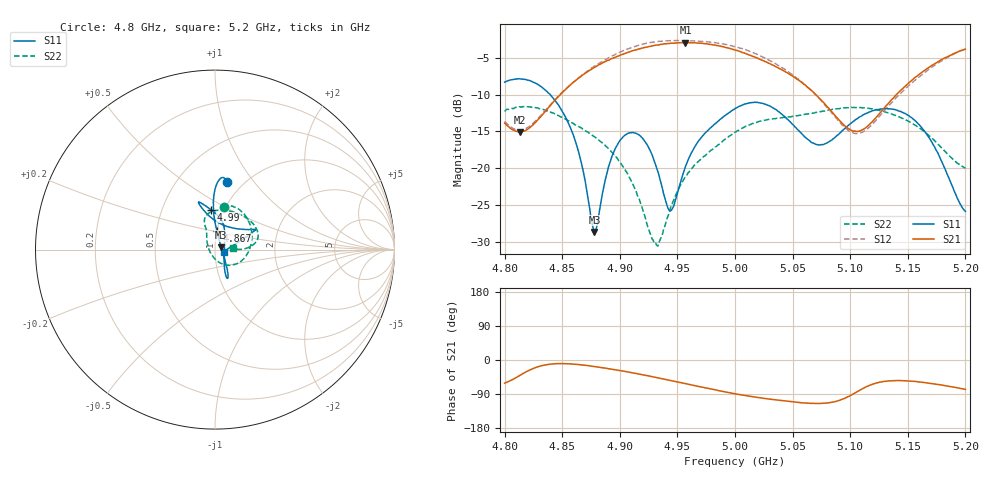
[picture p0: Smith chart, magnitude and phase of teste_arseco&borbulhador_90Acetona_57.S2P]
! Network Analyzer HP8722D
! Hewlett-Packard
! Data name: Linha & Wilkinson
! Saver's name: Rodrigo Anjos
! Comments: Teste da utilização de aquisição
! continua pelo VNA HP8722D
! Time and date: 17/4/2025 11:31
!  Frequency  S11  S21  S12  S22
# HZ  S  MA R 50
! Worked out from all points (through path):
!   401 points, 4.8 GHz to 5.2 GHz, reference 50 ohm
!   highest |S21| = -2.97 dB at 4.957 GHz (marker M1); lowest = -15.1 dB at 4.813 GHz (marker M2)
!   lowest |S11| = -28.6 dB at 4.878 GHz (marker M3), VSWR 1.08, Z = 53.6 + j1.32 ohm
!   |S11| at or under -10 dB: 4.839 GHz to end of sweep
!   |S22| runs from -30.5 to -11.6 dB; largest |S21 - S12| = 1.4
!   S11 on the Smith chart (normalised r, x): 4.8 GHz: 0.84, +0.75; 4.867 GHz: 1.00, +0.21; 4.99 GHz: 0.87, +0.41; 5.2 GHz: 1.10, -0.03
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4.8e9  0.3837 79.9  0.2029 -61.2  0.2082 73.9  0.2425 78.7
4.813e9  0.4038 83.9  0.1768 -41.0  0.1814 92.2  0.2619 67.9
4.845e9  0.2801 91.7  0.2965 -9.6  0.2984 123.0  0.2309 28.6
4.858e9  0.1813 91.3  0.373 -10.5  0.3738 124.2  0.2046 9.7
4.867e9  0.1059 84.6  0.4238 -13.0  0.4271 123.5  0.1871 -3.9
4.878e9  0.03714 19.4  0.4838 -17.4  0.4917 121.3  0.1636 -20.6
4.892e9  0.1136 -55.6  0.5488 -23.7  0.5695 116.6  0.1314 -40.5
4.905e9  0.1688 -64.5  0.6023 -30.5  0.6342 111.2  0.09648 -59.5
4.92e9  0.159 -67.5  0.6523 -39.2  0.6943 103.0  0.05231 -90.0
4.928e9  0.1239 -64.2  0.6732 -43.8  0.7137 98.1  0.03342 -126.8
4.934e9  0.08988 -55.2  0.685 -47.7  0.7248 94.4  0.03151 -171.8
4.944e9  0.0516 -1.9  0.7034 -54.0  0.7316 87.9  0.05405 142.4
4.957e9  0.1029 58.1  0.7104 -62.4  0.7317 79.5  0.08815 121.7
4.97e9  0.159 74.8  0.7045 -70.8  0.724 71.3  0.1147 114.5
4.99e9  0.2236 95.7  0.6663 -83.3  0.6944 58.2  0.1546 112.1
5e9  0.2537 103.2  0.6321 -89.3  0.6682 51.7  0.1757 109.7
5.029e9  0.2666 109.0  0.5168 -102.7  0.5437 35.9  0.2144 93.2
5.067e9  0.1492 81.0  0.3338 -114.3  0.3326 26.4  0.2361 59.7
5.104e9  0.2119 32.0  0.1794 -87.1  0.1724 56.8  0.2582 26.8
5.134e9  0.2531 26.1  0.2807 -55.1  0.2678 91.0  0.2365 11.4
5.165e9  0.1767 21.4  0.4634 -59.7  0.4474 88.1  0.1763 2.3
5.2e9  0.05121 -17.0  0.6417 -77.5  0.6432 71.5  0.1003 4.4
